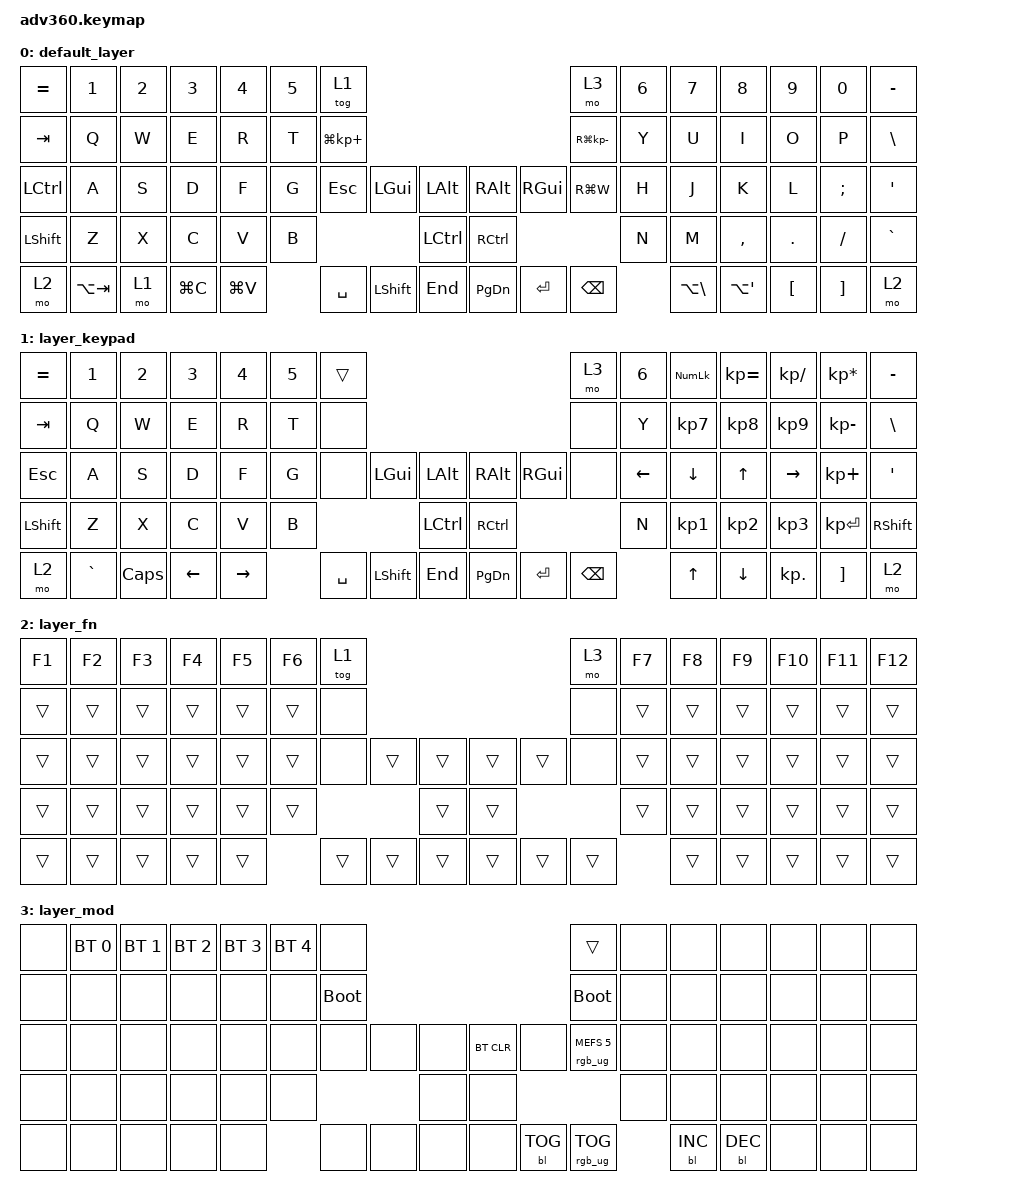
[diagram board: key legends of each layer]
/*
 * Copyright (c) 2020 The ZMK Contributors
 *
 * SPDX-License-Identifier: MIT
 */
/* THIS FILE WAS GENERATED!
 *
 * This file was generated automatically. You may or may not want to
 * edit it directly.
 */

#include <behaviors.dtsi>
#include <dt-bindings/zmk/backlight.h>
#include <dt-bindings/zmk/bt.h>
#include <dt-bindings/zmk/keys.h>
#include <dt-bindings/zmk/rgb.h>

/ {
    behaviors {
        #include "macros.dtsi"
    #include "version.dtsi"

        hm: homerow_mods {
            compatible = "zmk,behavior-hold-tap";
            label = "HOMEROW_MODS";
            #binding-cells = <2>;
            tapping-term-ms = <200>;
            quick_tap_ms = <175>;
            flavor = "tap-preferred";
            bindings = <&kp>, <&kp>;
        };
    };

    keymap {
        compatible = "zmk,keymap";

        default_layer {
            bindings = <
&kp EQUAL  &kp N1       &kp N2  &kp N3     &kp N4     &kp N5  &tog 1                                                                    &mo 3             &kp N6  &kp N7             &kp N8                &kp N9            &kp N0             &kp MINUS
&kp TAB    &kp Q        &kp W   &kp E      &kp R      &kp T   &kp LG(KP_PLUS)                                                           &kp RG(KP_MINUS)  &kp Y   &kp U              &kp I                 &kp O             &kp P              &kp BSLH
&kp LCTRL  &kp A        &kp S   &kp D      &kp F      &kp G   &kp ESC          &kp LGUI        &kp LALT       &kp RALT       &kp RGUI   &kp RG(W)         &kp H   &kp J              &kp K                 &kp L             &kp SEMI           &kp SQT
&kp LSHFT  &kp Z        &kp X   &kp C      &kp V      &kp B                                    &kp LCTRL      &kp RCTRL                                   &kp N   &kp M              &kp COMMA             &kp DOT           &kp FSLH           &kp GRAVE
&mo 2      &kp LA(TAB)  &mo 1   &kp LG(C)  &kp LG(V)          &kp SPACE        &kp LEFT_SHIFT  &kp END        &kp PAGE_DOWN  &kp ENTER  &kp BACKSPACE             &kp LA(BACKSLASH)  &kp LA(SINGLE_QUOTE)  &kp LEFT_BRACKET  &kp RIGHT_BRACKET  &mo 2
            >;
        };

        layer_keypad {
            bindings = <
&kp EQUAL  &kp N1     &kp N2    &kp N3    &kp N4     &kp N5  &trans                                                      &mo 3          &kp N6    &kp KP_NUM  &kp KP_EQUAL  &kp KP_DIVIDE  &kp KP_MULTIPLY  &kp MINUS
&kp TAB    &kp Q      &kp W     &kp E     &kp R      &kp T   &none                                                       &none          &kp Y     &kp KP_N7   &kp KP_N8     &kp KP_N9      &kp KP_MINUS     &kp BSLH
&kp ESC    &kp A      &kp S     &kp D     &kp F      &kp G   &none      &kp LGUI    &kp LALT       &kp RALT   &kp RGUI   &none          &kp LEFT  &kp DOWN    &kp UP        &kp RIGHT      &kp KP_PLUS      &kp SQT
&kp LSHFT  &kp Z      &kp X     &kp C     &kp V      &kp B                          &kp LCTRL      &kp RCTRL                            &kp N     &kp KP_N1   &kp KP_N2     &kp KP_N3      &kp KP_ENTER     &kp RSHFT
&mo 2      &kp GRAVE  &kp CAPS  &kp LEFT  &kp RIGHT          &kp SPACE  &kp LSHIFT  &kp END        &kp PG_DN  &kp ENTER  &kp BACKSPACE            &kp UP      &kp DOWN      &kp KP_DOT     &kp RBKT         &mo 2
            >;
        };

        layer_fn {
            bindings = <
&kp F1  &kp F2  &kp F3  &kp F4  &kp F5  &kp F6  &tog 1                                      &mo 3   &kp F7  &kp F8  &kp F9  &kp F10  &kp F11  &kp F12
&trans  &trans  &trans  &trans  &trans  &trans  &none                                       &none   &trans  &trans  &trans  &trans   &trans   &trans
&trans  &trans  &trans  &trans  &trans  &trans  &none   &trans  &trans      &trans  &trans  &none   &trans  &trans  &trans  &trans   &trans   &trans
&trans  &trans  &trans  &trans  &trans  &trans                  &trans      &trans                  &trans  &trans  &trans  &trans   &trans   &trans
&trans  &trans  &trans  &trans  &trans          &trans  &trans  &trans      &trans  &trans  &trans          &trans  &trans  &trans   &trans   &trans
            >;
        };

        layer_mod {
            bindings = <
&none  &bt BT_SEL 0  &bt BT_SEL 1  &bt BT_SEL 2  &bt BT_SEL 3  &bt BT_SEL 4  &none                                                  &trans                  &none  &none       &none       &none  &none  &none
&none  &none         &none         &none         &none         &none         &bootloader                                            &bootloader             &none  &none       &none       &none  &none  &none
&none  &none         &none         &none         &none         &none         &none        &none  &none      &bt BT_CLR  &none       &rgb_ug RGB_MEFS_CMD 5  &none  &none       &none       &none  &none  &none
&none  &none         &none         &none         &none         &none                             &none      &none                                           &none  &none       &none       &none  &none  &none
&none  &none         &none         &none         &none                       &none        &none  &none      &none       &bl BL_TOG  &rgb_ug RGB_TOG                &bl BL_INC  &bl BL_DEC  &none  &none  &none
            >;
        };
    };
};
